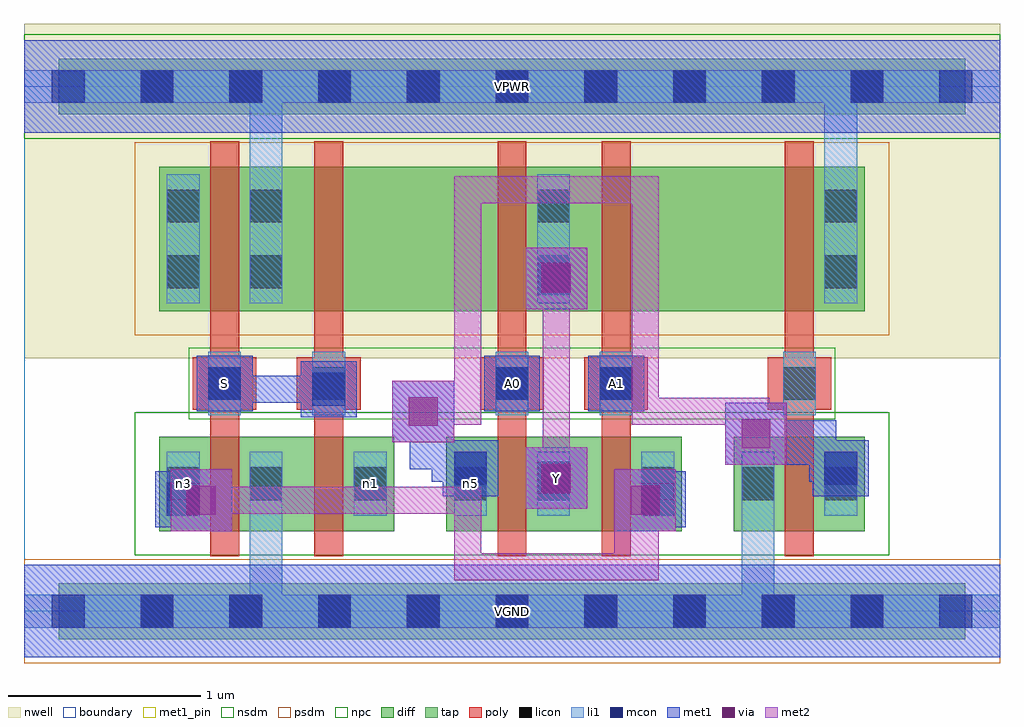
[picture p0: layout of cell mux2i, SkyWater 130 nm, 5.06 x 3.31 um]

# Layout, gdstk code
import gdstk
lib = gdstk.Library(unit=1e-6, precision=1e-09)
def R(c, l, rs):  # rectangles x0, y0, x1, y1
    for r in rs: c.add(gdstk.rectangle(r[:2], r[2:], *l))
def A(c, l, x, y, w, h, nx, ny, dx, dy):  # array of equal rectangles
    R(c, l, [(x+i*dx, y+j*dy, x+i*dx+w, y+j*dy+h) for i in range(nx) for j in range(ny)])
nwell = (64, 20)
diff = (65, 20)
tap = (65, 44)
poly = (66, 20)
licon = (66, 44)
li1 = (67, 20)
mcon = (67, 44)
met1_pin = (68, 16)
met1 = (68, 20)
via = (68, 44)
met2 = (69, 20)
nsdm = (93, 44)
psdm = (94, 20)
npc = (95, 20)
boundary = (235, 4)

mux2i = lib.new_cell('mux2i')
R(mux2i, nwell, [(0,1.31,5.06,3.045)])
R(mux2i, diff, [(0.7,0.415,1.92,0.905), (2.19,0.415,3.41,0.905), (3.68,0.415,4.36,0.905), (0.7,1.555,4.36,2.305)])
R(mux2i, tap, [(0.18,-0.145,4.88,0.145), (0.18,2.575,4.88,2.865)])
R(mux2i, poly, [(0.965,0.285,1.115,2.435), (1.505,0.285,1.655,2.435), (2.455,0.285,2.605,2.435), (2.995,0.285,3.145,2.435), (3.945,0.285,4.095,2.435), (0.875,1.045,1.205,1.315), (1.415,1.045,1.745,1.315), (2.365,1.045,2.695,1.315), (2.905,1.045,3.235,1.315), (3.855,1.045,4.185,1.315)])
A(mux2i, licon, 0.605, -0.085, 0.17, 0.17, 9, 2, 0.46, 2.72)
A(mux2i, licon, 1.17, 1.675, 0.17, 0.17, 3, 2, 1.49, 0.34)
R(mux2i, licon, [(0.74,0.575,0.91,0.745), (1.17,0.575,1.34,0.745), (1.71,0.575,1.88,0.745), (2.23,0.575,2.4,0.745), (2.66,0.575,2.83,0.745), (3.2,0.575,3.37,0.745), (3.72,0.575,3.89,0.745), (4.15,0.575,4.32,0.745), (0.955,1.095,1.125,1.265), (1.495,1.095,1.665,1.265), (2.445,1.095,2.615,1.265), (2.985,1.095,3.155,1.265), (3.935,1.095,4.105,1.265), (0.74,1.675,0.91,1.845), (0.74,2.015,0.91,2.185)])
A(mux2i, li1, 1.17, 1.595, 0.17, 0.67, 3, 1, 1.49, 0)
R(mux2i, li1, [(0,-0.085,5.06,0.085), (1.17,-0.085,1.34,0.825), (3.72,-0.085,3.89,0.825), (0.74,0.495,0.91,0.825), (1.17,0.495,1.34,0.825), (1.71,0.495,1.88,0.825), (2.23,0.495,2.4,0.825), (2.66,0.495,2.83,0.825), (3.2,0.495,3.37,0.825), (3.72,0.495,3.89,0.825), (4.15,0.495,4.32,0.825), (0.955,1.015,1.125,1.345), (1.495,1.015,1.665,1.345), (2.445,1.015,2.615,1.345), (2.985,1.015,3.155,1.345), (3.935,1.015,4.105,1.345), (0.74,1.595,0.91,2.265), (1.17,1.595,1.34,2.805), (4.15,1.595,4.32,2.805), (0,2.635,5.06,2.805)])
A(mux2i, mcon, 0.145, -0.085, 0.17, 0.17, 11, 2, 0.46, 2.72)
R(mux2i, mcon, [(0.74,0.495,0.91,0.665), (3.2,0.495,3.37,0.665), (2.66,0.605,2.83,0.775), (2.23,0.655,2.4,0.825), (4.15,0.655,4.32,0.825), (1.495,1.065,1.665,1.235), (0.955,1.095,1.125,1.265), (2.445,1.095,2.615,1.265), (2.985,1.095,3.155,1.265), (2.66,1.64,2.83,1.81)])
R(mux2i, met1_pin, [(0,-0.24,5.06,0.24), (2.6,0.53,2.92,0.85), (0.895,1.035,1.185,1.325), (2.385,1.035,2.675,1.325), (2.925,1.035,3.215,1.325), (0,2.48,5.06,2.96)])
R(mux2i, met1, [(0,-0.24,5.06,0.24), (0.76,0.415,1.08,0.735), (3.06,0.415,3.38,0.735), (0.68,0.435,0.97,0.725), (3.14,0.435,3.43,0.725), (0.85,0.505,0.99,0.65), (3.15,0.505,3.29,0.65), (0.755,0.51,0.99,0.65), (3.15,0.51,3.355,0.65), (2.6,0.53,2.92,0.85), (2.6,0.545,2.89,0.835), (2.17,0.595,2.46,0.885), (4.09,0.595,4.38,0.885), (2.675,0.62,2.83,0.76), (2.115,0.67,2.385,0.81), (2.115,0.67,2.255,0.875), (4.07,0.67,4.305,0.81), (4.07,0.67,4.21,0.99), (2,0.735,2.255,0.875), (2,0.735,2.14,1.105), (2.14,0.735,2.17,0.885), (3.635,0.76,3.955,1.08), (3.955,0.76,4.09,0.885), (3.955,0.76,4.07,0.81), (3.955,0.76,4.07,0.99), (3.725,0.85,4.21,0.99), (1.91,0.875,2.23,1.195), (1.435,1.005,1.725,1.295), (0.895,1.035,1.185,1.325), (2.385,1.035,2.675,1.325), (2.925,1.035,3.215,1.325), (0.965,1.08,1.45,1.22), (0.965,1.08,1.105,1.22), (1.31,1.08,1.65,1.22), (2.6,1.565,2.92,1.885), (2.6,1.58,2.89,1.87), (2.675,1.655,2.83,1.795), (0,2.48,5.06,2.96)])
R(mux2i, via, [(0.845,0.5,0.995,0.65), (3.145,0.5,3.295,0.65), (2.685,0.615,2.835,0.765), (3.72,0.845,3.87,0.995), (1.995,0.96,2.145,1.11), (2.685,1.65,2.835,1.8)])
R(mux2i, met2, [(2.23,0.16,2.37,0.645), (2.23,0.16,3.29,0.3), (3.15,0.16,3.29,0.645), (3.06,0.3,3.29,0.415), (0.76,0.415,1.08,0.735), (3.06,0.415,3.38,0.735), (0.85,0.505,2.37,0.645), (2.6,0.53,2.92,0.85), (2.69,0.62,2.83,1.795), (3.635,0.76,3.955,1.08), (3.725,0.85,3.865,1.105), (1.91,0.875,2.23,1.195), (2,0.965,2.37,1.105), (2.23,0.965,2.37,2.255), (3.15,0.965,3.29,2.255), (3.15,0.965,3.865,1.105), (2.6,1.565,2.92,1.885), (2.23,2.115,3.29,2.255)])
R(mux2i, nsdm, [(0.575,0.29,4.485,1.03), (0,2.45,5.06,2.99)])
R(mux2i, psdm, [(0,-0.27,5.06,0.27), (0.575,1.43,4.485,2.43)])
R(mux2i, npc, [(0.855,0.995,4.205,1.365)])
R(mux2i, boundary, [(0,0,5.06,2.72)])
mux2i.add(gdstk.Label('n3', (0.825,0.66), layer=67, texttype=5))
mux2i.add(gdstk.Label('n1', (1.795,0.66), layer=67, texttype=5))
mux2i.add(gdstk.Label('n5', (2.315,0.66), layer=67, texttype=5))
mux2i.add(gdstk.Label('A0', (2.53,1.18), layer=68, texttype=5))
mux2i.add(gdstk.Label('A1', (3.07,1.18), layer=68, texttype=5))
mux2i.add(gdstk.Label('S', (1.04,1.18), layer=68, texttype=5))
mux2i.add(gdstk.Label('Y', (2.76,0.69), layer=68, texttype=5))
mux2i.add(gdstk.Label('VPWR', (2.53,2.72), layer=68, texttype=5))
mux2i.add(gdstk.Label('VGND', (2.53,0), layer=68, texttype=5))
mux2i.add(gdstk.Label('A0', (2.53,1.18), layer=68, texttype=16))
mux2i.add(gdstk.Label('A1', (3.07,1.18), layer=68, texttype=16))
mux2i.add(gdstk.Label('S', (1.04,1.18), layer=68, texttype=16))
mux2i.add(gdstk.Label('Y', (2.76,0.69), layer=68, texttype=16))
mux2i.add(gdstk.Label('VPWR', (2.53,2.72), layer=68, texttype=16))
mux2i.add(gdstk.Label('VGND', (2.53,0), layer=68, texttype=16))

lib.write_gds('mux2i.gds')
